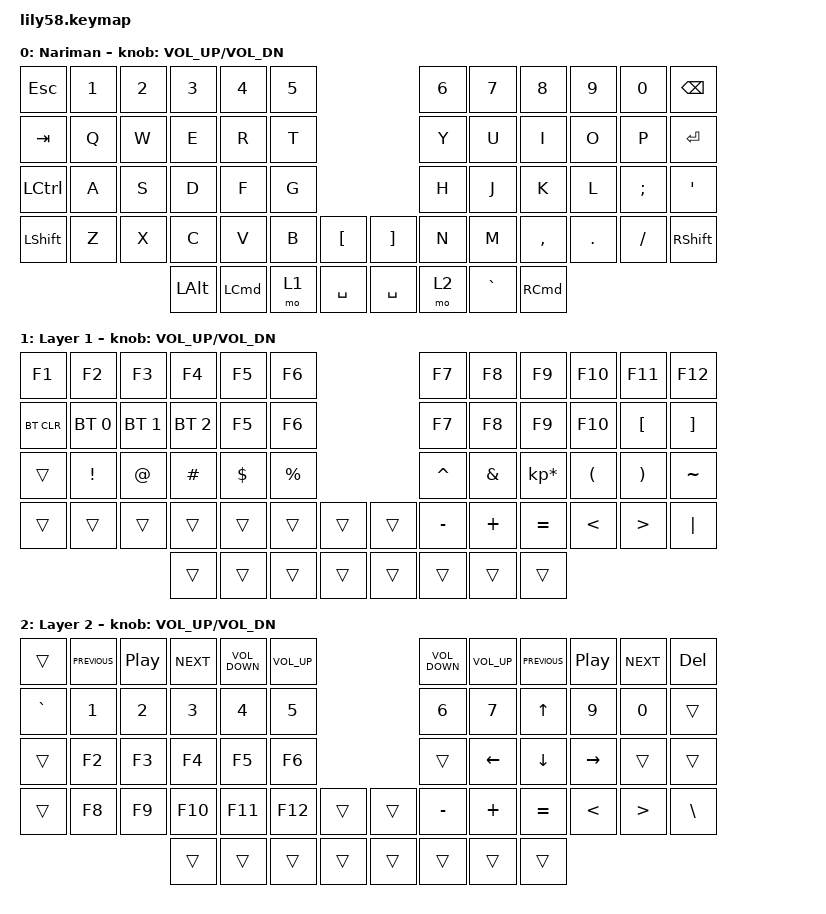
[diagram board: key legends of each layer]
/*
 * Copyright (c) 2020 The ZMK Contributors
 *
 * SPDX-License-Identifier: MIT
 */

#include <behaviors.dtsi>
#include <dt-bindings/zmk/bt.h>
#include <dt-bindings/zmk/keys.h>

/ {
    keymap {
        compatible = "zmk,keymap";

        default_layer {
            // ------------------------------------------------------------------------------------------------------------
            // |  ESC  |  1  |  2  |  3   |  4   |  5   |                   |  6   |  7    |  8    |  9   |   0   |   `   |
            // |  TAB  |  Q  |  W  |  E   |  R   |  T   |                   |  Y   |  U    |  I    |  O   |   P   |   -   |
            // |  CTRL |  A  |  S  |  D   |  F   |  G   |                   |  H   |  J    |  K    |  L   |   ;   |   '   |
            // | SHIFT |  Z  |  X  |  C   |  V   |  B   |   "["  |  |  "]"  |  N   |  M    |  ,    |  .   |   /   | SHIFT |
            //                     | ALT  | GUI  | LOWER|  SPACE |  | ENTER | RAISE| BSPC  | GUI   |

            display-name = "Nariman";
            bindings = <
&kp ESC           &kp N1  &kp N2  &kp N3    &kp N4            &kp N5                          &kp N6  &kp N7     &kp N8             &kp N9   &kp N0    &kp BACKSPACE
&kp TAB           &kp Q   &kp W   &kp E     &kp R             &kp T                           &kp Y   &kp U      &kp I              &kp O    &kp P     &kp RETURN
&kp LEFT_CONTROL  &kp A   &kp S   &kp D     &kp F             &kp G                           &kp H   &kp J      &kp K              &kp L    &kp SEMI  &kp SQT
&kp LEFT_SHIFT    &kp Z   &kp X   &kp C     &kp V             &kp B   &kp LBKT     &kp RBKT   &kp N   &kp M      &kp COMMA          &kp DOT  &kp FSLH  &kp RIGHT_SHIFT
                                  &kp LALT  &kp LEFT_COMMAND  &mo 1   &kp SPACE    &kp SPACE  &mo 2   &kp GRAVE  &kp RIGHT_COMMAND
            >;

            sensor-bindings = <&inc_dec_kp C_VOL_UP C_VOL_DN>;
        };

        lower_layer {
            // ------------------------------------------------------------------------------------------------------------
            // | BTCLR | BT1 | BT2 |  BT3 |  BT4 |  EP |                   |      |       |       |      |       |       |
            // |  F1   |  F2 |  F3 |  F4  |  F5  |  F6  |                   |  F7  |  F8   |  F9   |  F10 |  F11  |  F12  |
            // |   `   |  !  |  @  |  #   |  $   |  %   |                   |  ^   |  &    |  *    |  (   |   )   |   ~   |
            // |       |     |     |      |      |      |        |  |       |      |  _    |  +    |  {   |   }   |  "|"  |
            //                     |      |      |      |        |  |       |      |       |       |

            display-name = "Layer 1";
            bindings = <
&kp F1      &kp F2        &kp F3        &kp F4        &kp F5      &kp F6                       &kp F7     &kp F8    &kp F9           &kp F10        &kp F11           &kp F12
&bt BT_CLR  &bt BT_SEL 0  &bt BT_SEL 1  &bt BT_SEL 2  &kp F5      &kp F6                       &kp F7     &kp F8    &kp F9           &kp F10        &kp LEFT_BRACKET  &kp RIGHT_BRACKET
&trans      &kp EXCL      &kp AT        &kp HASH      &kp DOLLAR  &kp PRCNT                    &kp CARET  &kp AMPS  &kp KP_MULTIPLY  &kp LPAR       &kp RPAR          &kp TILDE
&trans      &trans        &trans        &trans        &trans      &trans     &trans    &trans  &kp MINUS  &kp PLUS  &kp EQUAL        &kp LESS_THAN  &kp GREATER_THAN  &kp PIPE
                                        &trans        &trans      &trans     &trans    &trans  &trans     &trans    &trans
            >;

            sensor-bindings = <&inc_dec_kp C_VOL_UP C_VOL_DN>;
        };

        raise_layer {
            // ------------------------------------------------------------------------------------------------------------
            // |       |     |     |      |      |      |                   |      |       |       |      |       |       |
            // |   `   |  1  |  2  |  3   |  4   |  5   |                   |  6   |   7   |   8   |  9   |   0   |       |
            // |   F1  |  F2 |  F3 |  F4  |  F5  |  F6  |                   |      |   <-  |   v   |  ^   |  ->   |       |
            // |   F7  |  F8 |  F9 |  F10 |  F11 |  F12 |        |  |       |  +   |   -   |   =   |  [   |   ]   |   \   |
            //                     |      |      |      |        |  |       |      |       |       |

            display-name = "Layer 2";
            bindings = <
&trans     &kp C_PREVIOUS  &kp C_PLAY_PAUSE  &kp C_NEXT  &kp C_VOLUME_DOWN  &kp C_VOLUME_UP                    &kp C_VOLUME_DOWN  &kp C_VOLUME_UP  &kp C_PREVIOUS  &kp C_PP         &kp C_NEXT        &kp DELETE
&kp GRAVE  &kp N1          &kp N2            &kp N3      &kp N4             &kp N5                             &kp N6             &kp N7           &kp UP_ARROW    &kp N9           &kp N0            &trans
&trans     &kp F2          &kp F3            &kp F4      &kp F5             &kp F6                             &trans             &kp LEFT         &kp DOWN        &kp RIGHT_ARROW  &trans            &trans
&trans     &kp F8          &kp F9            &kp F10     &kp F11            &kp F12          &trans    &trans  &kp MINUS          &kp PLUS         &kp EQUAL       &kp LESS_THAN    &kp GREATER_THAN  &kp BSLH
                                             &trans      &trans             &trans           &trans    &trans  &trans             &trans           &trans
            >;

            sensor-bindings = <&inc_dec_kp C_VOL_UP C_VOL_DN>;
        };
    };
};
